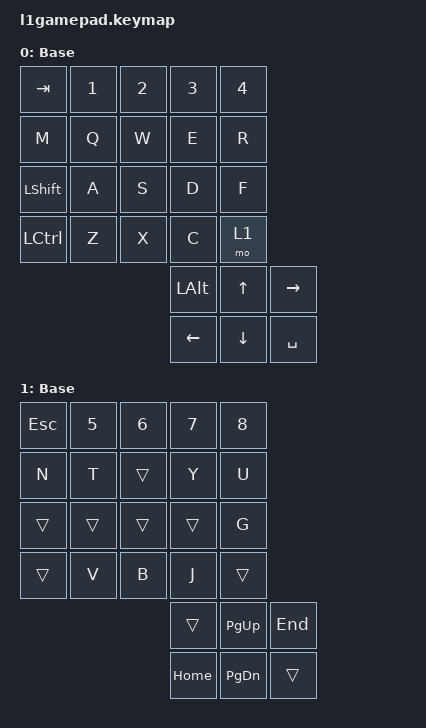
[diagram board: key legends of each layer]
#include <behaviors.dtsi>
#include <dt-bindings/zmk/keys.h>
#include <dt-bindings/zmk/bt.h>
#include <dt-bindings/zmk/ext_power.h>

/ {
    keymap {
        compatible = "zmk,keymap";

        default_layer {
// ----------------------------------------
// |  TAB  |  1  |  2  |  3  |  4  |
// |  M    |  Q  |  W  |  E  |  R  |
// | SHIFT |  A  |  S  |  D  |  F  |
// | CTRL  |  Z  |  X  |  C  | LWR |
//                     | ALT | UP  | RGT |
//                     | LFT | DWN | SPC |
            label = "Base";
            bindings = <
&kp TAB    &kp N1  &kp N2  &kp N3    &kp N4
&kp M      &kp Q   &kp W   &kp E     &kp R
&kp LSHFT  &kp A   &kp S   &kp D     &kp F
&kp LCTRL  &kp Z   &kp X   &kp C     &mo 1
                           &kp LALT  &kp UP    &kp RIGHT 
                           &kp LEFT  &kp DOWN  &kp SPACE
            >;
        };

        lower_layer {
// ----------------------------------------
// |  ESC  |  5  |  6  |  7  |  8  |
// |  N    |  T  |     |  Y  |  U  |
// |       |     |     |     |  G  |
// |       |  V  |  B  |  J  |     |
//                     |     | PGUP| END |
//                     | HOM | PGDN|     |
            label = "Base";
            bindings = <
&kp ESC    &kp N5  &kp N6  &kp N7    &kp N8
&kp N      &kp T   &trans  &kp Y     &kp U
&trans     &trans  &trans  &trans    &kp G
&trans     &kp V   &kp B   &kp J     &trans
                           &trans    &kp PG_UP  &kp END 
                           &kp HOME  &kp PG_DN  &trans
            >;
        };
    };
};
